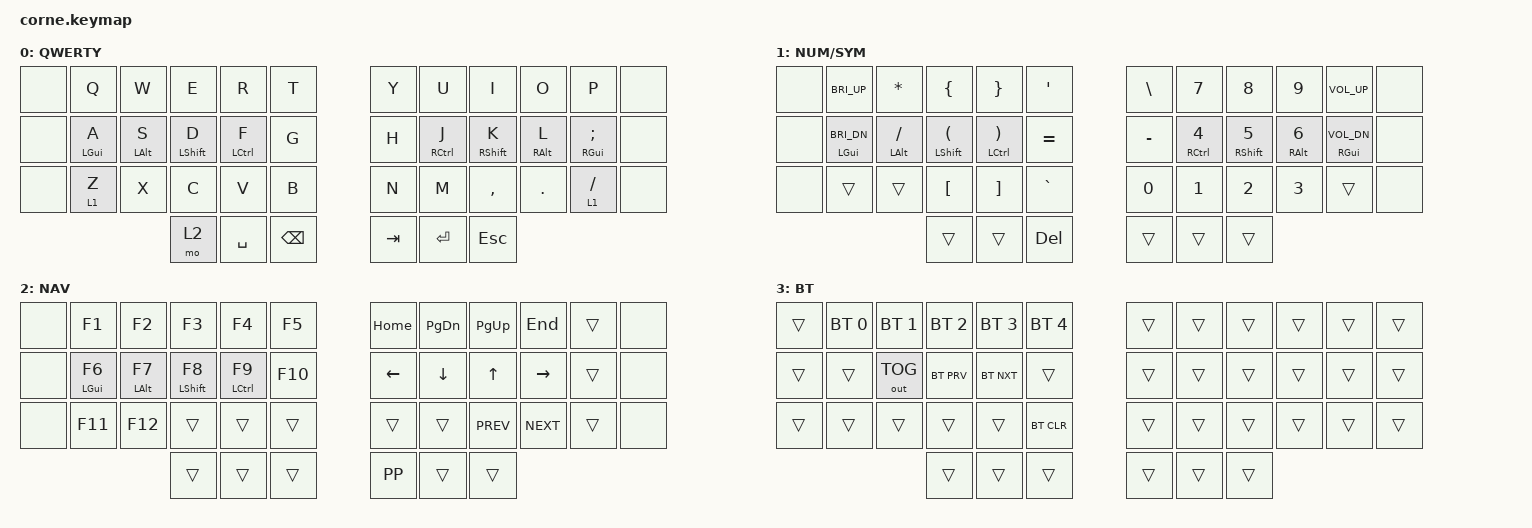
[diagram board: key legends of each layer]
/*
 * Copyright (c) 2020 The ZMK Contributors
 *
 * SPDX-License-Identifier: MIT
 */

#include <behaviors.dtsi>
#include <dt-bindings/zmk/bt.h>
#include <dt-bindings/zmk/keys.h>
#include <dt-bindings/zmk/outputs.h>

/ {
    behaviors {
        hm: homerow_mods {
            compatible = "zmk,behavior-hold-tap";
            label = "HOMEROW_MODS";
            #binding-cells = <2>;
            tapping-term-ms = <150>;
            flavor = "tap-preferred";
            bindings = <&kp>, <&kp>;

            quick-tap-ms = <200>;
        };

        mo_tog: behavior_mo_tog {
            compatible = "zmk,behavior-hold-tap";
            #binding-cells = <2>;
            flavor = "hold-preferred";
            tapping-term-ms = <200>;
            bindings = <&mo>, <&tog>;
        };

        mo_trans: hold_or_transparent {
            compatible = "zmk,behavior-hold-tap";
            #binding-cells = <2>;
            tapping-term-ms = <150>;
            flavor = "tap-preferred";
            bindings = <&mo>, <&trans>;
        };
    };

    keymap {
        compatible = "zmk,keymap";

        default_layer {
            // -----------------------------------------------------------------------------------------
            // |  Q  |  W  |  E  |  R  |  T  |   |  Y  |  U   |  I  |  O  |  P  |
            // |  A  |  S  |  D  |  F  |  G  |   |  H  |  J   |  K  |  L  |  ;  |
            // |  Z  |  X  |  C  |  V  |  B  |   |  N  |  M   |  ,  |  .  |  /  |
            //            | L2 | SPC  | BKSPC |   | TAB | ENTR | ESC |

            display-name = "QWERTY";
            bindings = <
&none  &kp Q           &kp W           &kp E             &kp R        &kp T            &kp Y    &kp U        &kp I              &kp O            &kp P               &none
&none  &hm LEFT_GUI A  &hm LEFT_ALT S  &hm LEFT_SHIFT D  &hm LCTRL F  &kp G            &kp H    &hm RCTRL J  &hm RIGHT_SHIFT K  &hm RIGHT_ALT L  &hm RIGHT_GUI SEMI  &none
&none  &lt 1 Z         &kp X           &kp C             &kp V        &kp B            &kp N    &kp M        &kp COMMA          &kp DOT          &lt 1 FSLH          &none
                                       &mo 2             &kp SPACE    &kp BACKSPACE    &kp TAB  &kp ENTER    &kp ESC
            >;
        };

        num_sym_layer {
            // -----------------------------------------------------------------------------------------
            // | Bright |  *  |  {  |  }  |  '  |    |  \  |  7  |  8  |  9  | Vol Up   |
            // | Dim    |  /  |  (  |  )  |  =  |    |  -  |  4  |  5  |  6  | Vol Down |
            // |        |  ^  |  [  |  ]  |  `  |    |  0  |  1  |  2  |  3  |          |
            //             |     |     |     |    |     |     |     |

            display-name = "NUM/SYM";
            bindings = <
&none  &kp C_BRI_UP           &kp STAR           &kp LBRC             &kp RBRC        &kp SINGLE_QUOTE    &kp BACKSLASH  &kp N7        &kp N8              &kp N9            &kp K_VOL_UP            &none
&none  &hm LEFT_GUI C_BRI_DN  &hm LEFT_ALT FSLH  &hm LEFT_SHIFT LPAR  &hm LCTRL RPAR  &kp EQUAL           &kp MINUS      &hm RCTRL N4  &hm RIGHT_SHIFT N5  &hm RIGHT_ALT N6  &hm RIGHT_GUI K_VOL_DN  &none
&none  &trans                 &trans             &kp LBKT             &kp RBKT        &kp GRAVE           &kp N0         &kp N1        &kp N2              &kp N3            &trans                  &none
                                                 &trans               &trans          &kp DEL             &trans         &trans        &trans
            >;
        };

        nav_layer {
            // -----------------------------------------------------------------------------------------
            // |  Pg Up    |      |  UP  |        | BT0 |   | F1  | F2  | F3   | F4  | F5  |
            // |  Pg Down  | LEFT | DOWN | RIGHT  | BT1 |   | F6  | F7  | F8   | F9  | F10 |
            // |           |      |      | BT_CLR | BT2 |   | F11 | F12 | Back | Fwd |     |
            //             |     |     |     |   | Pause |     |     |

            display-name = "NAV";
            bindings = <
&none  &kp F1       &kp F2       &kp F3             &kp F4               &kp F5     &kp HOME        &kp PG_DN  &kp PG_UP     &kp END     &trans  &none
&none  &hm LGUI F6  &hm LALT F7  &hm LEFT_SHIFT F8  &hm LEFT_CONTROL F9  &kp F10    &kp LEFT_ARROW  &kp DOWN   &kp UP_ARROW  &kp RIGHT   &trans  &none
&none  &kp F11      &kp F12      &trans             &trans               &trans     &trans          &trans     &kp K_PREV    &kp K_NEXT  &trans  &none
                                 &trans             &trans               &trans     &kp K_PP        &trans     &trans
            >;
        };

        bluetooth {
            bindings = <
&trans  &bt BT_SEL 0  &bt BT_SEL 1  &bt BT_SEL 2  &bt BT_SEL 3  &bt BT_SEL 4    &trans  &trans  &trans  &trans  &trans  &trans
&trans  &trans        &out OUT_TOG  &bt BT_PRV    &bt BT_NXT    &trans          &trans  &trans  &trans  &trans  &trans  &trans
&trans  &trans        &trans        &trans        &trans        &bt BT_CLR      &trans  &trans  &trans  &trans  &trans  &trans
                                    &trans        &trans        &trans          &trans  &trans  &trans
            >;

            label = "BT";
        };
    };

    conditional_layers {
        compatible = "zmk,conditional-layers";

        DoubleLayer {
            if-layers = <1 2>;
            then-layer = <3>;
        };
    };
};
